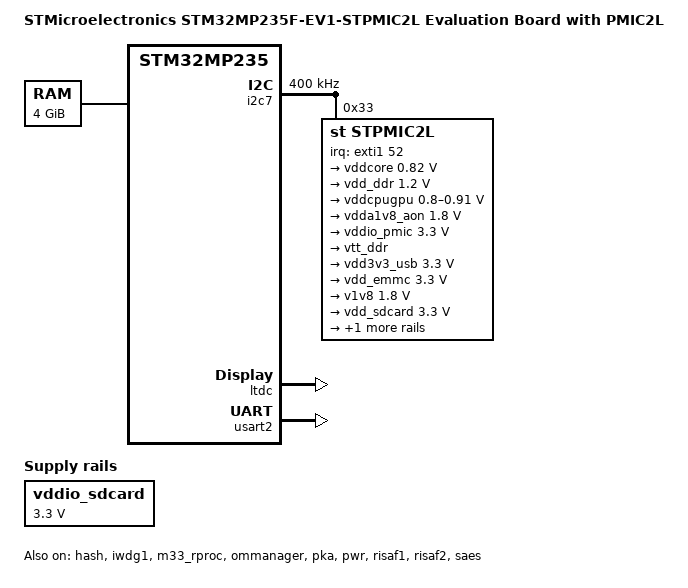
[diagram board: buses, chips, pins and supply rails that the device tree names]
// SPDX-License-Identifier: (GPL-2.0-only OR BSD-3-Clause)
/*
 * Copyright (C) 2026, STMicroelectronics - All Rights Reserved
 */

/dts-v1/;

#include <dt-bindings/clock/stm32mp25-clksrc.h>
#include <dt-bindings/mfd/st,stpmic2.h>
#include <dt-bindings/regulator/st,stm32mp25-regulator.h>
#include <dt-bindings/reset/stm32mp25-resets.h>
#include <dt-bindings/soc/stm32mp-provisioning.h>
#include <dt-bindings/soc/stm32mp25-rif.h>
#include <dt-bindings/soc/stm32mp25-risab.h>
#include <dt-bindings/soc/stm32mp25-risaf.h>
#include <dt-bindings/soc/stm32mp25-rifsc.h>
#include <dt-bindings/tamper/st,stm32mp25-tamp.h>
#include "stm32mp235.dtsi"
#include "stm32mp23xf.dtsi"
#include "stm32mp235f-ev1-stpmic2l-ca35tdcid-ostl-rcc.dtsi"
#include "stm32mp235f-ev1-stpmic2l-ca35tdcid-ostl-resmem.dtsi"
#include "stm32mp235f-ev1-stpmic2l-ca35tdcid-ostl-rif.dtsi"
#include "stm32mp25-pinctrl.dtsi"
#include "stm32mp25-st-scmi-cfg.dtsi"
#include "stm32mp25xxak-pinctrl.dtsi"

/ {
	model = "STMicroelectronics STM32MP235F-EV1-STPMIC2L Evaluation Board with PMIC2L";
	compatible = "st,stm32mp235f-ev1-stpmic2l-ca35tdcid-ostl", "st,stm32mp235f-ev1-stpmic2l", "st,stm32mp235";

	aliases {
		serial0 = &usart2;
	};

	chosen {
		stdout-path = "serial0:115200n8";
	};

	memory@80000000 {
		device_type = "memory";
		reg = <0x0 0x80000000 0x1 0x00000000>;
	};

	shadow-prov {
		compatible = "st,provisioning";
		hconf1_prov {
			nvmem-cells = <&hconf1_otp>;
			st,shadow-value = <0x00018DB6>;
		};
	};

	vddio_sdcard: vddio_sdcard {
		compatible = "regulator-fixed";
		regulator-name = "vddio_sdcard";
		regulator-min-microvolt = <3300000>;
		regulator-max-microvolt = <3300000>;
		regulator-always-on;
		status = "okay";
	};
};

&cpu0 {
	cpu-supply = <&vddcpugpu>;
};

&hash {
	status = "okay";
};

&i2c7 {
	pinctrl-names = "default", "sleep";
	pinctrl-0 = <&i2c7_pins_a>;
	pinctrl-1 = <&i2c7_sleep_pins_a>;
	i2c-scl-rising-time-ns = <29>;
	i2c-scl-falling-time-ns = <7>;
	clock-frequency = <400000>;
	status = "okay";
	#address-cells = <1>;
	#size-cells = <0>;

	stpmic2l: pmic@33 {
		compatible = "st,stpmic2l";
		reg = <0x33>;
		interrupts-extended = <&exti1 52 IRQ_TYPE_EDGE_FALLING>;
		wakeup-source;
		st,pmic-it-id = <IT_PKEY_FA IT_PKEY_RI>;
		st,notif-it-id = <0 1>;
		status = "okay";

		regulators {
			compatible = "st,stpmic2-regulators";

			vddcore: buck1 {
				regulator-name = "vddcore";
				regulator-min-microvolt = <820000>;
				regulator-max-microvolt = <820000>;
				regulator-always-on;
				st,pwrctrl-sel = <1>;
				st,pwrctrl-enable;

				default {
					regulator-on-in-suspend;
					regulator-suspend-microvolt = <820000>;
				};
				lplv {
					regulator-on-in-suspend;
					regulator-suspend-microvolt = <670000>;
				};
				standby {
					regulator-off-in-suspend;
				};
				off {
					regulator-off-in-suspend;
				};
			};
			vdd_ddr: buck2 {
				regulator-name = "vdd_ddr";
				regulator-min-microvolt = <1200000>;
				regulator-max-microvolt = <1200000>;
				regulator-always-on;
				st,pwrctrl-sel = <1>;
				st,pwrctrl-enable;

				default {
					regulator-on-in-suspend;
					regulator-suspend-microvolt = <1200000>;
				};
				lplv {
					regulator-on-in-suspend;
					regulator-suspend-microvolt = <1200000>;
				};
				standby {
					regulator-on-in-suspend;
					regulator-suspend-microvolt = <1200000>;
				};
				off {
					regulator-off-in-suspend;
				};
			};
			vddcpugpu: buck3 {
				regulator-name = "vddcpugpu";
				regulator-min-microvolt = <800000>;
				regulator-max-microvolt = <910000>;
				regulator-always-on;
				st,pwrctrl-sel = <2>;
				st,pwrctrl-enable;

				default {
					regulator-off-in-suspend;
				};
				lplv {
					regulator-off-in-suspend;
				};
				standby {
					regulator-off-in-suspend;
				};
				off {
					regulator-off-in-suspend;
				};
			};
			vdda1v8_aon: ldo1 {
				regulator-name = "vdda1v8_aon";
				regulator-min-microvolt = <1800000>;
				regulator-max-microvolt = <1800000>;
				regulator-always-on;
				st,mask-reset;
			};
			vddio_pmic: ldo2 {
				regulator-name = "vddio_pmic";
				regulator-min-microvolt = <3300000>;
				regulator-max-microvolt = <3300000>;
				regulator-always-on;
				st,mask-reset;
			};
			vtt_ddr: ldo3 {
				regulator-name = "vtt_ddr";
				regulator-always-on;
				st,pwrctrl-sel = <1>;
				st,pwrctrl-enable;

				default {
					regulator-off-in-suspend;
				};
				lplv {
					regulator-off-in-suspend;
				};
				standby {
					regulator-off-in-suspend;
				};
				off {
					regulator-off-in-suspend;
				};
			};
			vdd3v3_usb: ldo4 {
				regulator-name = "vdd3v3_usb";
				regulator-min-microvolt = <3300000>;
				regulator-max-microvolt = <3300000>;
				regulator-over-current-protection;

				standby {
					regulator-off-in-suspend;
				};
				off {
					regulator-off-in-suspend;
				};
			};
			vdd_emmc: ldo5 {
				regulator-name = "vdd_emmc";
				regulator-min-microvolt = <3300000>;
				regulator-max-microvolt = <3300000>;
				regulator-over-current-protection;
				st,pwrctrl-sel = <3>;
				st,pwrctrl-reset;
			};
			v1v8: ldo6 {
				regulator-name = "v1v8";
				regulator-min-microvolt = <1800000>;
				regulator-max-microvolt = <1800000>;
				regulator-always-on;
				st,pwrctrl-sel = <1>;
				st,pwrctrl-enable;

				default {
					regulator-on-in-suspend;
					regulator-suspend-microvolt = <1800000>;
				};
				lplv {
					regulator-on-in-suspend;
					regulator-suspend-microvolt = <1800000>;
				};
				standby {
					regulator-off-in-suspend;
				};
				off {
					regulator-off-in-suspend;
				};
			};
			vdd_sdcard: gpo4 {
				regulator-name = "vdd_sdcard";
				regulator-min-microvolt = <3300000>;
				regulator-max-microvolt = <3300000>;
				regulator-always-on;
				st,pwrctrl-sel = <3>;
				st,pwrctrl-reset;
			};
			v3v3: gpo5 {
				regulator-name = "v3v3";
				regulator-min-microvolt = <3300000>;
				regulator-max-microvolt = <3300000>;
				regulator-always-on;
				st,pwrctrl-sel = <1>;
				st,pwrctrl-enable;

				default {
					regulator-on-in-suspend;
					regulator-suspend-microvolt = <3300000>;
				};
				lplv {
					regulator-on-in-suspend;
					regulator-suspend-microvolt = <3300000>;
				};
				standby {
					regulator-off-in-suspend;
				};
				off {
					regulator-off-in-suspend;
				};
			};
		};
	};
};

&iwdg1 {
	timeout-sec = <32>;
	status = "okay";
};

&ltdc {
	status = "okay";
};

&m33_rproc {
	compatible = "st,stm32mp2-m33-tee";
	memory-region = <&cm33_cube_fw>, <&cm33_cube_data>,
			<&ipc_shmem>, <&tfm_code>, <&tfm_data>, <&cm33_sram2>,
			<&cm33_sram1>, <&cm33_retram>;

	status = "okay";
};

&ommanager {
	memory-region = <&mm_ospi2>;
	memory-region-names = "mm_ospi2";
	pinctrl-names = "default", "sleep";
	pinctrl-0 = <&ospi_port1_clk_pins_a
		     &ospi_port1_io03_pins_a
		     &ospi_port1_cs0_pins_a>;
	pinctrl-1 = <&ospi_port1_clk_sleep_pins_a
		     &ospi_port1_io03_sleep_pins_a
		     &ospi_port1_cs0_sleep_pins_a>;
	status = "okay";
};

&pka {
	status = "okay";
};

&pwr {
	status = "okay";
	wakeup-gpios = <&gpioa 0 GPIO_ACTIVE_HIGH>, <0>, <0>, <0>, <0>, <0>;

	vdd33ucpd: vdd33ucpd {
		status = "okay";
		regulator-min-microvolt = <3300000>;
		regulator-max-microvolt = <3300000>;
		vdd33ucpd-supply = <&vdd3v3_usb>;
	};

	vdda18adc: vdda18adc {
		status = "okay";
		regulator-min-microvolt = <1800000>;
		regulator-max-microvolt = <1800000>;
		vdda18adc-supply = <&v1v8>;
	};

	vddgpu: vddgpu {
		status = "okay";
		vddgpu-supply = <&vddcpugpu>;
	};

	vddio1: vddio1 {
		status = "okay";
		regulator-min-microvolt = <3300000>;
		regulator-max-microvolt = <3300000>;
		vddio1-supply = <&vddio_sdcard>;
	};

	vddio2: vddio2 {
		status = "okay";
		vddio2-supply = <&v1v8>;
		regulator-always-on;
	};

	vddio3: vddio3 {
		status = "okay";
		vddio3-supply = <&vddio_pmic>;
		regulator-always-on;
	};

	vddio4: vddio4 {
		status = "okay";
		vddio4-supply = <&vddio_pmic>;
		regulator-always-on;
	};

	vddio: vddio {
		status = "okay";
		vdd-supply = <&vddio_pmic>;
	};
};

&rcc {
	st,c1msrd = <2>;
	st,clk_opp {
		st,ck_cpu1 {
			cfg_1 {
				hz = <1500000000>;
				st,pll = <&pll1_cfg_1500MHz>;
			};

			cfg_2 {
				hz = <1200000000>;
				st,pll = <&pll1_cfg_1200MHz>;
			};
		};
		st,ck_gpu {
			cfg_1 {
				hz = <400000000>;
				st,pll = <&pll3_cfg_400Mhz>;
			};
		};
	};
};

&risaf1 {
	status = "okay";
};

&risaf2 {
	status = "okay";
};

&saes {
	status = "okay";
};

&scmi_regulator {
	regulators {
		regulator@a {
			reg = <VOLTD_SCMI_STPMIC2_BUCK1>;
			voltd-supply = <&vddcore>;
		};

		regulator@14 {
			reg = <VOLTD_SCMI_STPMIC2_LDO4>;
			voltd-supply = <&vdd3v3_usb>;
		};

		regulator@15 {
			reg = <VOLTD_SCMI_STPMIC2_LDO5>;
			voltd-supply = <&vdd_emmc>;
		};

		regulator@16 {
			reg = <VOLTD_SCMI_STPMIC2_LDO6>;
			voltd-supply = <&v1v8>;
		};

		regulator@22 {
			reg = <VOLTD_SCMI_STPMIC_GPO4>;
			voltd-supply = <&vdd_sdcard>;
		};

		regulator@23 {
			reg = <VOLTD_SCMI_STPMIC_GPO5>;
			voltd-supply = <&v3v3>;
		};
	};
};

&tamp {
	wakeup-source;
	st,tamp-passive-precharge = <2>;
	st,tamp-passive-nb-sample = <4>;
	st,tamp-passive-sample-clk-div = <16384>;

	/* Tamper button */
	tamp-button {
		status = "okay";
		tamper-gpios = <&gpioi 8 0>;
		st,tamp-mode = <TAMPER_CONFIRMED_MODE>;
		st,tamp-id = <1>;
	};
};

&usart2 {
	pinctrl-names = "default";
	pinctrl-0 = <&usart2_pins_a>;
	status = "okay";
};
